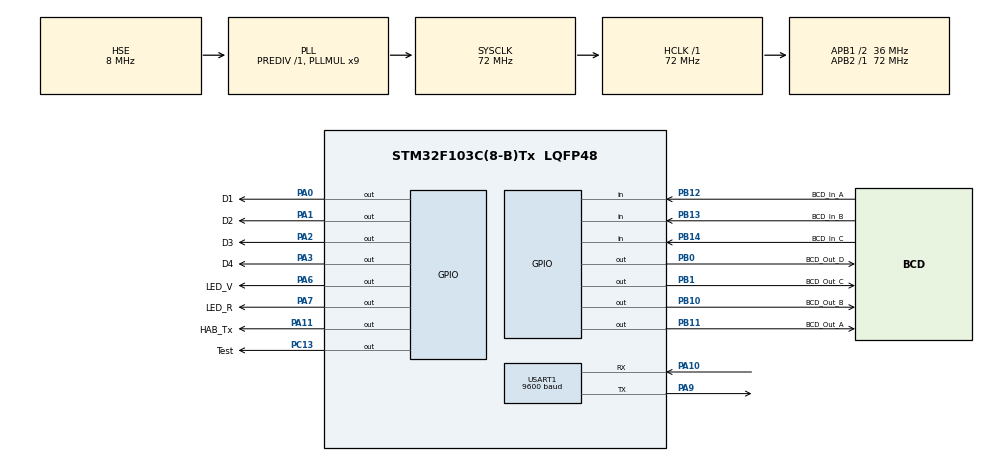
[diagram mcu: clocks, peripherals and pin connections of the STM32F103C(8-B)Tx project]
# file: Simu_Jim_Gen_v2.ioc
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Mcu.Family=STM32F1
Mcu.Name=STM32F103C(8-B)Tx
Mcu.Package=LQFP48
NVIC.PriorityGroup=NVIC_PRIORITYGROUP_4
NVIC.TIM2_IRQn=true\:0\:0\:false\:false\:true\:true\:true
NVIC.USART1_IRQn=true\:0\:0\:false\:false\:true\:true\:true
PA0-WKUP.GPIO_Label=D1
PA0-WKUP.Signal=GPIO_Output
PA1.GPIO_Label=D2
PA1.Signal=GPIO_Output
PA10.Mode=Asynchronous
PA10.Signal=USART1_RX
PA11.GPIO_Label=HAB_Tx
PA11.GPIO_PuPd=GPIO_PULLDOWN
PA11.Signal=GPIO_Output
PA13.Mode=Serial_Wire
PA13.Signal=SYS_JTMS-SWDIO
PA14.Mode=Serial_Wire
PA14.Signal=SYS_JTCK-SWCLK
PA2.GPIO_Label=D3
PA2.Signal=GPIO_Output
PA3.GPIO_Label=D4
PA3.Signal=GPIO_Output
PA6.GPIO_Label=LED_V
PA6.Signal=GPIO_Output
PA7.GPIO_Label=LED_R
PA7.Signal=GPIO_Output
PA9.Mode=Asynchronous
PA9.Signal=USART1_TX
PB0.GPIO_Label=BCD_Out_D
PB0.GPIO_PuPd=GPIO_PULLDOWN
PB0.Signal=GPIO_Output
PB1.GPIO_Label=BCD_Out_C
PB1.GPIO_PuPd=GPIO_PULLDOWN
PB1.Signal=GPIO_Output
PB10.GPIO_Label=BCD_Out_B
PB10.GPIO_PuPd=GPIO_PULLDOWN
PB10.Signal=GPIO_Output
PB11.GPIO_Label=BCD_Out_A
PB11.GPIO_PuPd=GPIO_PULLDOWN
PB11.Signal=GPIO_Output
PB12.GPIO_Label=BCD_In_A
PB12.GPIO_PuPd=GPIO_PULLDOWN
PB12.Signal=GPIO_Input
PB13.GPIO_Label=BCD_In_B
PB13.GPIO_PuPd=GPIO_PULLDOWN
PB13.Signal=GPIO_Input
PB14.GPIO_Label=BCD_In_C
PB14.GPIO_PuPd=GPIO_PULLDOWN
PB14.Signal=GPIO_Input
PC13-TAMPER-RTC.GPIO_Label=Test
PC13-TAMPER-RTC.Signal=GPIO_Output
PD0-OSC_IN.Mode=HSE-External-Oscillator
PD0-OSC_IN.Signal=RCC_OSC_IN
PD1-OSC_OUT.Mode=HSE-External-Oscillator
PD1-OSC_OUT.Signal=RCC_OSC_OUT
ProjectManager.HeapSize=0x200
ProjectManager.StackSize=0x400
ProjectManager.TargetToolchain=STM32CubeIDE
RCC.AHBFreq_Value=72000000
RCC.APB1CLKDivider=RCC_HCLK_DIV2
RCC.APB1Freq_Value=36000000
RCC.APB1TimFreq_Value=72000000
RCC.APB2Freq_Value=72000000
RCC.APB2TimFreq_Value=72000000
RCC.HCLKFreq_Value=72000000
RCC.PLLMUL=RCC_PLL_MUL9
RCC.PLLSourceVirtual=RCC_PLLSOURCE_HSE
RCC.SYSCLKFreq_VALUE=72000000
RCC.SYSCLKSource=RCC_SYSCLKSOURCE_PLLCLK
RCC.USBFreq_Value=72000000
TIM2.Period=7200
TIM2.Prescaler=50
USART1.BaudRate=9600
USART1.VirtualMode=VM_ASYNC
VP_TIM2_VS_ClockSourceINT.Mode=Internal
board=custom

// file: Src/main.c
/* USER CODE BEGIN Header */
/**
  ******************************************************************************
  * Programa para SIMULAR el software de Jim. El equipo cuenta con una placa
  * para controlar el generador, otra para el calculardor de error, y otra para
  * el patrón.
  *
  * Todas las placas cuentan con un interprete que permite procesar las tramas
  * enviadas.
  *
  * Este firmware es particularmente para el GENERADOR
  *
  * Mensajes propios que puede recibir:
  * MAR Marcha del equipo
  * STP Parada del equipo
  *
  * Mensajes que puede enviar:
  * ACK
  * ERR
  *
  *
  * Lista de errores
  *		   012345678
  * Indica ERR0Fxxxx (encabezado, fase, numero)
  *
  * 0-> Sin errores, se sigue trabajando
  * 1-> Error de comunicaciones interno (con perifericos del GDR)
  * 2-> El mensaje no es correcto. No reconoce mensaje o pide estado con equipo apagado
  * 3-> Sobrecarga Ampli Corriente
  * 4-> Sobrecarga Ampli Tensión
  * 5-> Sobretemperatura Ampli Corriente
  * 6-> Sobretemperatura Ampli Tensión
  *
  *
  * Ademas, cuando se le pregunta si está todo OK, responde con valores de temp y potencia
  *
  *
  *

  *
  ******************************************************************************
  */
/* USER CODE END Header */

#include "main.h"

/* USER CODE BEGIN Includes */
#include "stdlib.h"

/* USER CODE END Includes */

/* USER CODE BEGIN PD */

#define ID1 'G'
#define ID2 'D'
#define ID3 'R'

/* USER CODE END PD */

TIM_HandleTypeDef htim2;

UART_HandleTypeDef huart1;

void SystemClock_Config(void);
static void MX_GPIO_Init(void);
static void MX_TIM2_Init(void);
static void MX_USART1_UART_Init(void);
/* USER CODE BEGIN PFP */

void Limpia_Recep(void);	//Limpia el vecto donde recibe la trama
void Limpia_Pr(void);		//Limpia el vector que usa para procesar la trama
int  Valida_Cksum(void); 	//Devuelve el codigo del error, si ocurrió
int  Lectura_Trama(void);	//Devuelve el codigo del error, si ocurrió

void Genera_Trama_ACK_ERROR (void); //Genera la trama a transmitir que contiene el ACK

int Valida_Entradas (void);	//Mira las entradas y escribe en el display

void Envio_tx (void);	//Transmite el vector tx

/* USER CODE END PFP */

/* USER CODE BEGIN 0 */

//Variables para la recepción e interpretación:

uint8_t v_rx[150];	//Vector de recepción. Lo que llega se guarda aca
uint8_t v_tx[150];	//Vector de transmisión. Lo que quiero enviar, lo armo acá
uint8_t v_pr[150];	//Vector de procesamiento. Cuando termina de recibir, se pasa acá para poder seguir recibiendo

uint8_t i_pr=0;		//Contador de posiciónes de v_pr

uint8_t l_rx=0;	//Longitud de v_rx
uint8_t l_tx=0;	//Longitud de v_7x
uint8_t l_pr=0;		//Longitud de v_pr

uint8_t a_rx[1];	//Variable auxiliar donde se guarda el caracter recibido.
uint8_t f_rx=0;		//Flag de recepción en proceso
uint8_t f_tc=0;		//Flag de trama completa

uint8_t Error_rx=0;	//Guarda el error de la recepción, en 0 -> no hubo error.
uint8_t Error_cksum=0;	//Guarda si hay el error en el cksum.

//Variables generales
uint8_t estado=0;	//Maquina de estados principal
uint8_t l_max=150;		//Es la cantidad maxima de caracteres que puede tener una trama

//Variables de Generación de magnitudes
uint8_t Val[9][5]; 	//Valores que debe generar, en filas: UR, US, UT, IR, IS, IT, PhiR, PHiS, PhiT
uint8_t inst=0;		//Instrucción recibida
uint8_t f_mar=0;	//Flag de equipo en marcha
uint8_t fase=0;		//indica en que fase hubo error

//Variables para el envío de respuestas
uint8_t e0=0;	//Caracter del codigo del error
uint8_t e1=0;	//Caracter del codigo del error

/* USER CODE END 0 */

int main(void)
{

  /* MCU Configuration--------------------------------------------------------*/

  /* Reset of all peripherals, Initializes the Flash interface and the Systick. */
  HAL_Init();

  /* Configure the system clock */
  SystemClock_Config();

  /* Initialize all configured peripherals */
  MX_GPIO_Init();
  MX_TIM2_Init();
  MX_USART1_UART_Init();
  /* USER CODE BEGIN 2 */

  //Prearo interrupcion para la recepcion, solo sirve para una vez
  HAL_UART_Receive_IT(&huart1, (uint8_t*)a_rx, sizeof(a_rx));

  HAL_TIM_Base_Start_IT(&htim2);

  //Secuencia de arranque con leds en el frente
  HAL_GPIO_WritePin(LED_V_GPIO_Port, LED_V_Pin, 0);
  HAL_GPIO_WritePin(LED_R_GPIO_Port, LED_R_Pin, 0);

  HAL_Delay(1000);
  HAL_GPIO_WritePin(LED_V_GPIO_Port, LED_V_Pin, 1);
  HAL_Delay(1000);
  HAL_GPIO_WritePin(LED_R_GPIO_Port, LED_R_Pin, 1);
  HAL_Delay(1000);
  HAL_GPIO_WritePin(LED_V_GPIO_Port, LED_V_Pin, 0);
  HAL_GPIO_WritePin(LED_R_GPIO_Port, LED_R_Pin, 0);

  //Apago el led en la placa y en el frente
  HAL_GPIO_WritePin(Test_GPIO_Port, Test_Pin, 1);

  /* USER CODE END 2 */

  /* Infinite loop */
  /* USER CODE BEGIN WHILE */
  while (1)
  {
	  //HAL_UART_Transmit_IT(&huart1, (uint8_t*) &caracter, sizeof(caracter));
	  switch(estado)
	  {
		  case 0:	//espera recepción, valida, y pasa
		  {
			  if(f_tc==1)	//Si se completó una trama
			  {
				  Limpia_Recep();	//Guarda vector recibido en vector de procesamiento
				  Error_cksum=Valida_Cksum(); //Valido trama analizo checksum

				  //Si el cksum esta ok, valido la trama y sigo, si hay error en cksum ignoro la trama
				  if(Error_cksum==0 && v_pr[8]==ID1 && v_pr[9]==ID2 && v_pr[10]==ID3)
				  {
					  estado=1; //Si es para mi y cksum ok, avanzo
				  }

				  //Si no valida el cksum o no es para mi el mensaje, lo ignoro
				  else
				  {
					  estado=0;
				  }
			  }
		  } //Fin case 0
		  break;

		  case 1: //Envía respuesta al mensaje recibido y ejecuta
		  {

			  //Lee lo que tiene la trama y guarda los valores en las variables correspondientes
			  //Si hay error de contenido lo reporta
			  Error_rx=Lectura_Trama();

			  //Simulo errores solo si o hubo errores
			  if(Error_rx==0) Error_rx=Valida_Entradas();

			  //Si no hay error en la trama
			  if(Error_rx==0)
			  {
				  if (inst==1) //Marcha
				  {
					  //Prendo led testigo de la placa y en el frente
					  HAL_GPIO_WritePin(Test_GPIO_Port, Test_Pin, 0);
					  HAL_GPIO_WritePin(LED_V_GPIO_Port, LED_V_Pin, 1);
					  HAL_GPIO_WritePin(LED_R_GPIO_Port, LED_R_Pin, 0);

					  //Envía marcha al generador con los valores recibidos
					  Genera_Trama_ACK_ERROR();
					  Envio_tx();

					  f_mar=1; //Flag para saber si está funcionando
				  }
				  else if (inst==2)	//Parada
				  {
					  //Apago led testigo de la placa y en el frente
					  HAL_GPIO_WritePin(Test_GPIO_Port, Test_Pin, 1);
					  HAL_GPIO_WritePin(LED_V_GPIO_Port, LED_V_Pin, 0);
					  HAL_GPIO_WritePin(LED_R_GPIO_Port, LED_R_Pin, 0);

					  //Envía marcha al generador con los valores recibidos
					  Genera_Trama_ACK_ERROR();
					  Envio_tx();

					  f_mar=0; //Flag para saber si está funcionando

				  }
				  else if (inst==3)//Pide estado
				  {
					  //Si hacemos que pida valores es ahora
					  if(f_mar==0) Error_rx=2;	//Si pide con el equipo apagado manda error 2
					  Genera_Trama_ACK_ERROR();
					  Envio_tx();
				  }

				  //segun el comando que recibe, transmite ack o resultados.

			  } //Fin if Errorrx=0;

			  //Si hay error en la trama
			  else
			  {
				  //Apago led testigo
				  HAL_GPIO_WritePin(Test_GPIO_Port, Test_Pin, 1);
				  HAL_GPIO_WritePin(LED_V_GPIO_Port, LED_V_Pin, 0);
				  HAL_GPIO_WritePin(LED_R_GPIO_Port, LED_R_Pin, 1);
				  //Reporta
				  Genera_Trama_ACK_ERROR();
				  Envio_tx();
			  }

			  //Prepara para volver a recibir
			  Limpia_Recep();
			  Limpia_Pr();
			  estado=0;

		  } //Fin case 1
		  break;

	  }//Fin Switch Principal

    /* USER CODE END WHILE */

  }
}

void SystemClock_Config(void)
{
  RCC_OscInitTypeDef RCC_OscInitStruct = {0};
  RCC_ClkInitTypeDef RCC_ClkInitStruct = {0};

  /** Initializes the CPU, AHB and APB busses clocks
  */
  RCC_OscInitStruct.OscillatorType = RCC_OSCILLATORTYPE_HSE;
  RCC_OscInitStruct.HSEState = RCC_HSE_ON;
  RCC_OscInitStruct.HSEPredivValue = RCC_HSE_PREDIV_DIV1;
  RCC_OscInitStruct.HSIState = RCC_HSI_ON;
  RCC_OscInitStruct.PLL.PLLState = RCC_PLL_ON;
  RCC_OscInitStruct.PLL.PLLSource = RCC_PLLSOURCE_HSE;
  RCC_OscInitStruct.PLL.PLLMUL = RCC_PLL_MUL9;
  if (HAL_RCC_OscConfig(&RCC_OscInitStruct) != HAL_OK)
  {
    Error_Handler();
  }
  /** Initializes the CPU, AHB and APB busses clocks
  */
  RCC_ClkInitStruct.ClockType = RCC_CLOCKTYPE_HCLK|RCC_CLOCKTYPE_SYSCLK
                              |RCC_CLOCKTYPE_PCLK1|RCC_CLOCKTYPE_PCLK2;
  RCC_ClkInitStruct.SYSCLKSource = RCC_SYSCLKSOURCE_PLLCLK;
  RCC_ClkInitStruct.AHBCLKDivider = RCC_SYSCLK_DIV1;
  RCC_ClkInitStruct.APB1CLKDivider = RCC_HCLK_DIV2;
  RCC_ClkInitStruct.APB2CLKDivider = RCC_HCLK_DIV1;

  if (HAL_RCC_ClockConfig(&RCC_ClkInitStruct, FLASH_LATENCY_2) != HAL_OK)
  {
    Error_Handler();
  }
}

static void MX_TIM2_Init(void)
{

  TIM_ClockConfigTypeDef sClockSourceConfig = {0};
  TIM_MasterConfigTypeDef sMasterConfig = {0};

  htim2.Instance = TIM2;
  htim2.Init.Prescaler = 50;
  htim2.Init.CounterMode = TIM_COUNTERMODE_UP;
  htim2.Init.Period = 7200;
  htim2.Init.ClockDivision = TIM_CLOCKDIVISION_DIV1;
  htim2.Init.AutoReloadPreload = TIM_AUTORELOAD_PRELOAD_DISABLE;
  if (HAL_TIM_Base_Init(&htim2) != HAL_OK)
  {
    Error_Handler();
  }
  sClockSourceConfig.ClockSource = TIM_CLOCKSOURCE_INTERNAL;
  if (HAL_TIM_ConfigClockSource(&htim2, &sClockSourceConfig) != HAL_OK)
  {
    Error_Handler();
  }
  sMasterConfig.MasterOutputTrigger = TIM_TRGO_RESET;
  sMasterConfig.MasterSlaveMode = TIM_MASTERSLAVEMODE_DISABLE;
  if (HAL_TIMEx_MasterConfigSynchronization(&htim2, &sMasterConfig) != HAL_OK)
  {
    Error_Handler();
  }

}

static void MX_USART1_UART_Init(void)
{

  huart1.Instance = USART1;
  huart1.Init.BaudRate = 9600;
  huart1.Init.WordLength = UART_WORDLENGTH_8B;
  huart1.Init.StopBits = UART_STOPBITS_1;
  huart1.Init.Parity = UART_PARITY_NONE;
  huart1.Init.Mode = UART_MODE_TX_RX;
  huart1.Init.HwFlowCtl = UART_HWCONTROL_NONE;
  huart1.Init.OverSampling = UART_OVERSAMPLING_16;
  if (HAL_UART_Init(&huart1) != HAL_OK)
  {
    Error_Handler();
  }

}

static void MX_GPIO_Init(void)
{
  GPIO_InitTypeDef GPIO_InitStruct = {0};

  /* GPIO Ports Clock Enable */
  __HAL_RCC_GPIOC_CLK_ENABLE();
  __HAL_RCC_GPIOD_CLK_ENABLE();
  __HAL_RCC_GPIOA_CLK_ENABLE();
  __HAL_RCC_GPIOB_CLK_ENABLE();

  /*Configure GPIO pin Output Level */
  HAL_GPIO_WritePin(Test_GPIO_Port, Test_Pin, GPIO_PIN_RESET);

  /*Configure GPIO pin Output Level */
  HAL_GPIO_WritePin(GPIOA, D1_Pin|D2_Pin|D3_Pin|D4_Pin
                          |LED_V_Pin|LED_R_Pin|HAB_Tx_Pin, GPIO_PIN_RESET);

  /*Configure GPIO pin Output Level */
  HAL_GPIO_WritePin(GPIOB, BCD_Out_D_Pin|BCD_Out_C_Pin|BCD_Out_B_Pin|BCD_Out_A_Pin, GPIO_PIN_RESET);

  /*Configure GPIO pin : Test_Pin */
  GPIO_InitStruct.Pin = Test_Pin;
  GPIO_InitStruct.Mode = GPIO_MODE_OUTPUT_PP;
  GPIO_InitStruct.Pull = GPIO_NOPULL;
  GPIO_InitStruct.Speed = GPIO_SPEED_FREQ_LOW;
  HAL_GPIO_Init(Test_GPIO_Port, &GPIO_InitStruct);

  /*Configure GPIO pins : D1_Pin D2_Pin D3_Pin D4_Pin
                           LED_V_Pin LED_R_Pin */
  GPIO_InitStruct.Pin = D1_Pin|D2_Pin|D3_Pin|D4_Pin
                          |LED_V_Pin|LED_R_Pin;
  GPIO_InitStruct.Mode = GPIO_MODE_OUTPUT_PP;
  GPIO_InitStruct.Pull = GPIO_NOPULL;
  GPIO_InitStruct.Speed = GPIO_SPEED_FREQ_LOW;
  HAL_GPIO_Init(GPIOA, &GPIO_InitStruct);

  /*Configure GPIO pins : BCD_Out_D_Pin BCD_Out_C_Pin BCD_Out_B_Pin BCD_Out_A_Pin */
  GPIO_InitStruct.Pin = BCD_Out_D_Pin|BCD_Out_C_Pin|BCD_Out_B_Pin|BCD_Out_A_Pin;
  GPIO_InitStruct.Mode = GPIO_MODE_OUTPUT_PP;
  GPIO_InitStruct.Pull = GPIO_PULLDOWN;
  GPIO_InitStruct.Speed = GPIO_SPEED_FREQ_LOW;
  HAL_GPIO_Init(GPIOB, &GPIO_InitStruct);

  /*Configure GPIO pins : BCD_In_A_Pin BCD_In_B_Pin BCD_In_C_Pin */
  GPIO_InitStruct.Pin = BCD_In_A_Pin|BCD_In_B_Pin|BCD_In_C_Pin;
  GPIO_InitStruct.Mode = GPIO_MODE_INPUT;
  GPIO_InitStruct.Pull = GPIO_PULLDOWN;
  HAL_GPIO_Init(GPIOB, &GPIO_InitStruct);

  /*Configure GPIO pin : HAB_Tx_Pin */
  GPIO_InitStruct.Pin = HAB_Tx_Pin;
  GPIO_InitStruct.Mode = GPIO_MODE_OUTPUT_PP;
  GPIO_InitStruct.Pull = GPIO_PULLDOWN;
  GPIO_InitStruct.Speed = GPIO_SPEED_FREQ_LOW;
  HAL_GPIO_Init(HAB_Tx_GPIO_Port, &GPIO_InitStruct);

}

/* USER CODE BEGIN 4 */

void HAL_UART_RxCpltCallback(UART_HandleTypeDef *huart)
{
	static uint8_t i_rx=0;
	if (f_rx==0) //Si no está recibiendo
	{
		if (a_rx[0]=='B') //Pregunta si escomienzo de trama
		{
			i_rx=0;
			v_rx[i_rx]=a_rx[0];
			f_rx=1;	//Preparo para seguir ricibiendo la trama
		}
	}
	else	//Si ya comenzó a recibir la trama (recibió la B)
	{
		i_rx++;
		v_rx[i_rx]=a_rx[0];

		if (a_rx[0]=='Z') //Caracter de fin de trama
		{
			l_rx = i_rx + 3;
		}

		if (i_rx==l_rx)	//Llegó al final de la trama
		{
			f_rx=0;	//Preparo para recibir la proxima trama

			i_rx=0;

			l_pr=l_rx; //Guardo la longitud del vector recibido

			l_rx=l_max; //maxima longirud para comparar la proxima pasada
			l_rx--;

			f_tc=1; //Flag de trama completa
		}

		}

	//Prearo interrupcion para la recepcion, solo sirve para una vez
	  	HAL_UART_Receive_IT(&huart1, (uint8_t*)a_rx, sizeof(a_rx));

}	//FIN UART

void HAL_TIM_PeriodElapsedCallback(TIM_HandleTypeDef *htim)
{
	static uint8_t aux=0;
	static uint8_t i=0;

	//Lectura de llaves, guardo en una variable que no me interesa, solo quiero actualizar el display
	aux=Valida_Entradas();
	aux++;

	//time to live de la recepción
	if (f_rx==1)
	{
		//Si tarda mas de un segundo en completar la recepción
		if(i==200)
		{
			f_rx=0;
		}
		i++;
	}
	else
	{
		i=0;
	}

//		HAL_GPIO_TogglePin(Test_GPIO_Port, Test_Pin);
}	//Fin timer 2

void Limpia_Recep(void)	//Limpia lo relacionado a la recepción y prepara una nueva
{
	uint16_t i=0;
	for (i=0;i<=l_max-1;i++)
	{
		v_pr[i]=v_rx[i]; //Lleno de espaciós vacios
	}
//
//
//	//Limpia vector de recepcion
//	for (i=0;i<=l_max-1;i++)
//	{
//		v_rx[i]='0'; //Lleno de espaciós vacios
//	}

//	//Limpia vector de transmision
//	for (i=0;i<=l_max-1;i++)
//	{
//		v_tx[i]=' '; //Lleno de espaciós vacios
//	}

	a_rx[0]=0;
//	i_rx=0;
	l_rx=l_max;
	l_rx--;
	f_rx=0;
	f_tc=0;

} //Fin Limpia Recep

void Limpia_Pr(void)
{
	uint16_t i=0;

	for (i=0;i<=l_max-1;i++)
	{
		v_pr[i]=' '; //Lleno de espaciós vacios
	}

} //Fin limpia Pr

int Valida_Cksum(void)
{
	//Variables locales
	uint8_t Error=0;
	uint8_t cksum=0;
	uint16_t i=0;

	//Validación del checksum

	for(i=0;i<=l_pr-1;i++)
	{
		cksum+=v_pr[i];
	}

	if(cksum=='B' || cksum=='Z' || cksum==10) cksum++;

	if(cksum==v_pr[l_pr])	//Verifico el cksm
	{
		Error=0;
	}
	else Error=1;	//No cumple cksm

	//Para probar
//	Error=0;

	return (Error);

} //Fin Valida_Trama

int Lectura_Trama (void)
{
	//Variables locales
	uint8_t Error=0;
	uint8_t i_rd=0;	//Posición del vector de recepción
	uint8_t i=0;	//Posicion fila
	uint8_t v_ax[3];	//vector auxiliar de lectura

	//El vector tiene datos a partir de la posición 13 inclusive

	//Lectura de la instrucción:
	for(i_rd=13;i_rd<=15;i_rd++)
	{
		v_ax[i_rd-13]=v_pr[i_rd];
	}

		 if(v_ax[0]=='M' && v_ax[1]=='A' && v_ax[2]=='R') inst=1;	//MAR Enciende el equipo
	else if(v_ax[0]=='S' && v_ax[1]=='T' && v_ax[2]=='P') inst=2;	//STP Detiene el equipo
	else if(v_ax[0]=='S' && v_ax[1]=='T' && v_ax[2]=='D') inst=3;	//STD Pide estado del equipo
	else Error=2; //Mensaje incorrecto

	//Si se pone en marcha, guarda los parametros del ensayo
	if(inst==1)
	{
		i=0;
		for(i_rd=26;i_rd<=100;i_rd+=10)
			{
				Val[i][0]=v_pr[i_rd];
				Val[i][1]=v_pr[i_rd+1];
				Val[i][2]=v_pr[i_rd+2];
				Val[i][3]=v_pr[i_rd+3];
				Val[i][4]=v_pr[i_rd+4];
				i++;
			}
	}

	return (Error);
} //Fin Lectura_Trama

void Genera_Trama_ACK_ERROR (void) //Genera la trama a transmitir que contiene el ACK con el codigo del error (cero es sin error)
{
	uint8_t i=0;
	uint8_t cksum=0;

	static uint8_t r1=0;
	static uint8_t r2=0;
	static uint8_t r3=0;
	//Convierto el error a ascii, como maximo dos digitos tiene:
	e0=Error_rx%10;	//Obtengo unidad
	e1=Error_rx/10; //Obtengo decena

	if(Error_rx==0)
	{
		r1='A';
		r2='C';
		r3='K';
	}
	else
	{
		r1='E';
		r2='R';
		r3='R';
	}

	//Armo el vector

	v_tx[0] ='B';
	v_tx[1] ='|';
	v_tx[2] =' ';
	v_tx[3] =ID1;	//Origen
	v_tx[4] =ID2;
	v_tx[5] =ID3;
	v_tx[6] ='|';
	v_tx[7] =' ';
	v_tx[8] ='P';	//Destino
	v_tx[9] ='C';
	v_tx[10]='S';
	v_tx[11]='|';
	v_tx[12]=' ';
	v_tx[13]=r1;
	v_tx[14]=r2;
	v_tx[15]=r3;
	v_tx[16]='0';
	v_tx[17]=fase;
	v_tx[18]='0';
	v_tx[19]= e1 + 48;
	v_tx[20]= e0 + 48;
	v_tx[21]='|';
	v_tx[22]=' ';
	v_tx[23]='Z';
	v_tx[24]='|';
	v_tx[25]=' ';

	cksum=0;

	for(i=0;i<=25;i++)
	{
		cksum+=v_tx[i];
	}

	if(cksum=='B' || cksum=='Z' || cksum==10) cksum++;

	v_tx[26]=cksum;

	// \n
	v_tx[27]=10;

	l_tx=28;	//Longitud para transmitir

} //Fin Genera Trama ACK

int Valida_Entradas (void)
{
	// En esta version no se distinuen errores de fases.
	//Lee la llave en BCD de 3 digitos
	uint8_t BCD[3];
	uint8_t valor=0;

	BCD[0]= HAL_GPIO_ReadPin(BCD_In_A_GPIO_Port, BCD_In_A_Pin);
	BCD[1]= HAL_GPIO_ReadPin(BCD_In_B_GPIO_Port, BCD_In_B_Pin);
	BCD[2]= HAL_GPIO_ReadPin(BCD_In_C_GPIO_Port, BCD_In_C_Pin);

	//Calcula el valor
	valor = BCD[0]*1 + BCD[1]*2 + BCD[2]*4;

return(valor);

} //Fin valida entradas

void Envio_tx (void)
{
	//Habilito la transmisión
	  HAL_GPIO_WritePin(HAB_Tx_GPIO_Port, HAB_Tx_Pin, 1);
	  HAL_Delay(50);

	  //Envio
	  HAL_UART_Transmit_IT(&huart1, (uint8_t*) &v_tx, l_tx);
	  HAL_Delay(250);

	  //Deshabilito la transmision
	  HAL_GPIO_WritePin(HAB_Tx_GPIO_Port, HAB_Tx_Pin, 0);
}	//Fin Envio_tx

/* USER CODE END 4 */

void Error_Handler(void)
{
}

/************************ (C) COPYRIGHT STMicroelectronics *****END OF FILE****/
